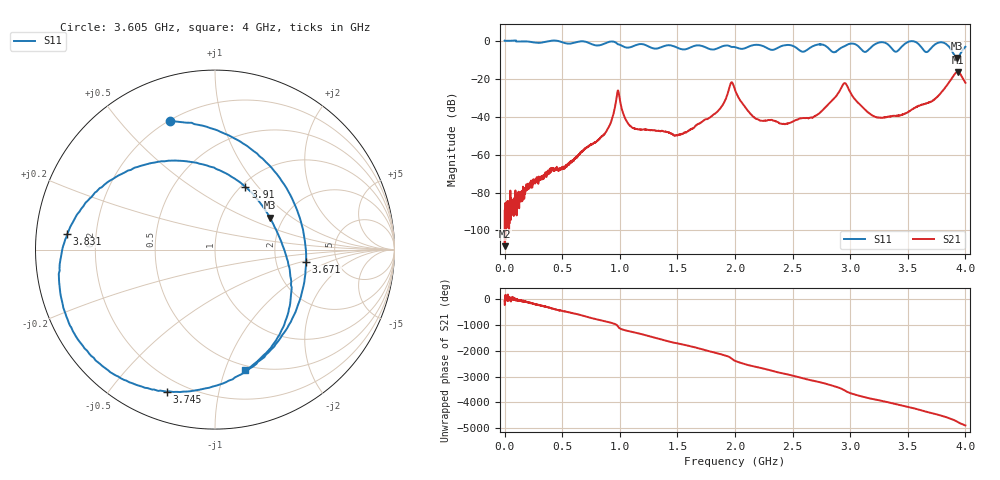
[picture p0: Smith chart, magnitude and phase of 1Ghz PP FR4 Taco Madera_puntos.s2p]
! NanoVNA-App
! Date: 2025-10-30 21:25:09
! Start: 10kHz Stop: 4GHz Points: 3201
! S-Parameter data: F S11 S21 S12 S22
# Hz S RI R 50
!  Frequency  S11_Real  S11_Imag  S21_Real  S21_Imag  S12_Real  S12_Imag  S22_Real  S22_Imag
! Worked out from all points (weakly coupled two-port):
!   3201 points, 10 kHz to 4 GHz, reference 50 ohm
!   highest |S21| = -16.40 dB at 3.933 GHz (marker M1); lowest = -108.3 dB at 3.76 MHz (marker M2)
!   lowest |S11| = -9.0 dB at 3.926 GHz (marker M3), VSWR 2.09, Z = 85 + j34.7 ohm
!   |S11| at or under -10 dB: nowhere
!   S12 and S22 are empty: the file has one direction only
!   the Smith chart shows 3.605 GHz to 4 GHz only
!   S11 on the Smith chart (normalised r, x): 3.605 GHz: 0.21, +0.69; 3.671 GHz: 2.98, -0.58; 3.745 GHz: 0.13, -0.71; 3.831 GHz: 0.09, +0.05; 3.91 GHz: 1.04, +0.86; 4 GHz: 0.45, -1.17
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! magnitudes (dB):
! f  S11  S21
! 10 kHz  0.0  -108.2
! 3.76 MHz  0.0  -108.3
! 667.5 MHz  -0.3  -58.6
! 882.5 MHz  -1.1  -47.7
! 983.8 MHz  -1.8  -26.2
! 1.095 GHz  -3.4  -45.1
! 1.334 GHz  -4.0  -47.5
! 1.588 GHz  -4.2  -47.9
! 2 GHz  -3.4  -25.9
! 2.206 GHz  -2.2  -41.7
! 2.668 GHz  -3.1  -40.6
! 2.953 GHz  -2.8  -22.3
! 3.169 GHz  -4.1  -38.4
! 3.334 GHz  -2.2  -40.0
! 3.605 GHz  -2.4  -34.1
! 3.671 GHz  -5.8  -32.9
! 3.745 GHz  -1.6  -30.2
! 3.831 GHz  -1.6  -24.2
! 3.91 GHz  -8.2  -17.4
! 3.926 GHz  -9.0  -16.5
! 3.933 GHz  -8.9  -16.4
! 4 GHz  -3.2  -22.2
